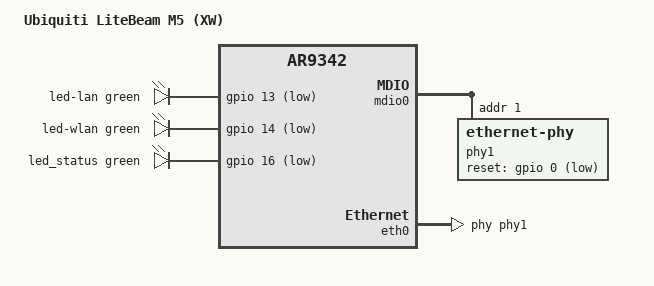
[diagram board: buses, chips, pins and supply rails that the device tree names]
// SPDX-License-Identifier: GPL-2.0-or-later OR MIT

#include "ar9342_ubnt_xw.dtsi"

#include <dt-bindings/gpio/gpio.h>
#include <dt-bindings/input/input.h>
#include <dt-bindings/leds/common.h>

/ {
	compatible = "ubnt,litebeam-m5-xw", "qca,ar9342";
	model = "Ubiquiti LiteBeam M5 (XW)";

	aliases {
		led-boot = &led_status;
		led-running = &led_status;
		led-upgrade = &led_status;
		led-failsafe = &led_status;
		label-mac-device = &wmac;
	};

	leds {
		compatible = "gpio-leds";

		led-lan {
			color = <LED_COLOR_ID_GREEN>;
			function = LED_FUNCTION_LAN;
			gpios = <&gpio 13 GPIO_ACTIVE_LOW>;
		};

		led-wlan {
			color = <LED_COLOR_ID_GREEN>;
			function = LED_FUNCTION_WLAN;
			linux,default-trigger = "phy0tpt";
			gpios = <&gpio 14 GPIO_ACTIVE_LOW>;
		};

		led_status: led-power {
			color = <LED_COLOR_ID_GREEN>;
			function = LED_FUNCTION_POWER;
			gpios = <&gpio 16 GPIO_ACTIVE_LOW>;
		};
	};
};

&mdio0 {
	status = "okay";

	phy1: ethernet-phy@1 {
		reg = <1>;
		phy-mode = "mii";
		reset-gpios = <&gpio 0 GPIO_ACTIVE_LOW>;
	};
};

&eth0 {
	status = "okay";

	phy-handle = <&phy1>;
};
